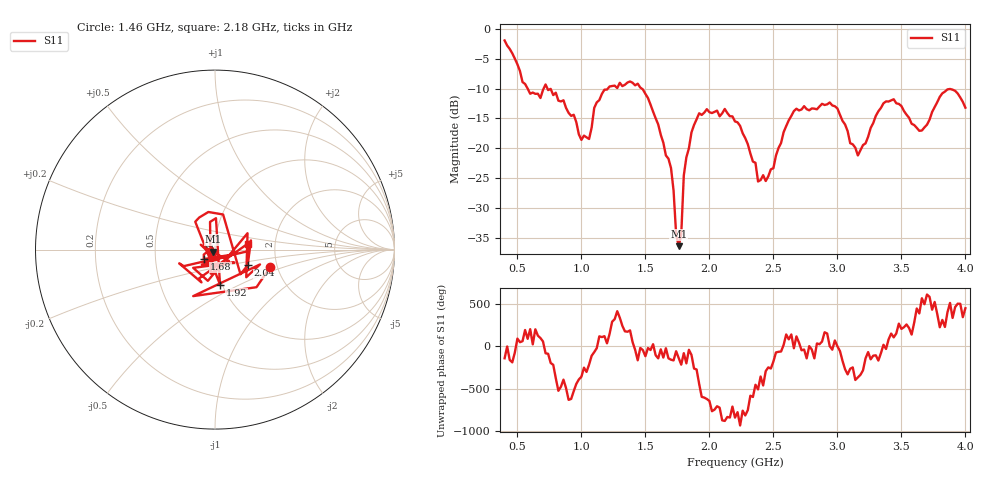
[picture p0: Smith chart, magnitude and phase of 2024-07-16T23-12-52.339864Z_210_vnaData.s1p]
!Created with skrf (http://scikit-rf.org).
# Hz S RI R 50.0
!freq ReS11 ImS11
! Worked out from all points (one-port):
!   181 points, 400 MHz to 4 GHz, reference 50 ohm
!   lowest |S11| = -36.4 dB at 1.76 GHz (marker M1), VSWR 1.03, Z = 48.9 - j1.06 ohm
!   |S11| at or under -10 dB: 580.3 MHz to 704.4 MHz (124.1 MHz wide, 19.3 % of centre); 735.1 MHz to 1.206 GHz (470.7 MHz wide, 48.5 % of centre); 1.472 GHz to end of sweep
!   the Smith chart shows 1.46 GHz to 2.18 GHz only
!   S11 on the Smith chart (normalised r, x): 1.46 GHz: 1.84, -0.39; 1.68 GHz: 0.88, -0.09; 1.92 GHz: 0.98, -0.40; 2.04 GHz: 1.42, -0.26; 2.18 GHz: 1.44, +0.10
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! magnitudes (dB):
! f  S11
! 400 MHz  -1.9
! 600 MHz  -10.9
! 860 MHz  -11.9
! 1.06 GHz  -18.4
! 1.12 GHz  -12.3
! 1.3 GHz  -9.0
! 1.46 GHz  -9.8
! 1.68 GHz  -21.8
! 1.7 GHz  -23.3
! 1.76 GHz  -36.4
! 1.78 GHz  -34.5
! 1.8 GHz  -24.6
! 1.82 GHz  -21.5
! 1.92 GHz  -14.1
! 2.04 GHz  -13.9
! 2.18 GHz  -14.6
! 2.2 GHz  -15.5
! 2.38 GHz  -25.6
! 2.44 GHz  -25.5
! 2.66 GHz  -13.8
! 2.94 GHz  -12.3
! 3.1 GHz  -19.1
! 3.16 GHz  -21.2
! 3.38 GHz  -12.1
! 3.56 GHz  -14.9
! 3.66 GHz  -17.0
! 3.86 GHz  -10.1
! 4 GHz  -13.2
